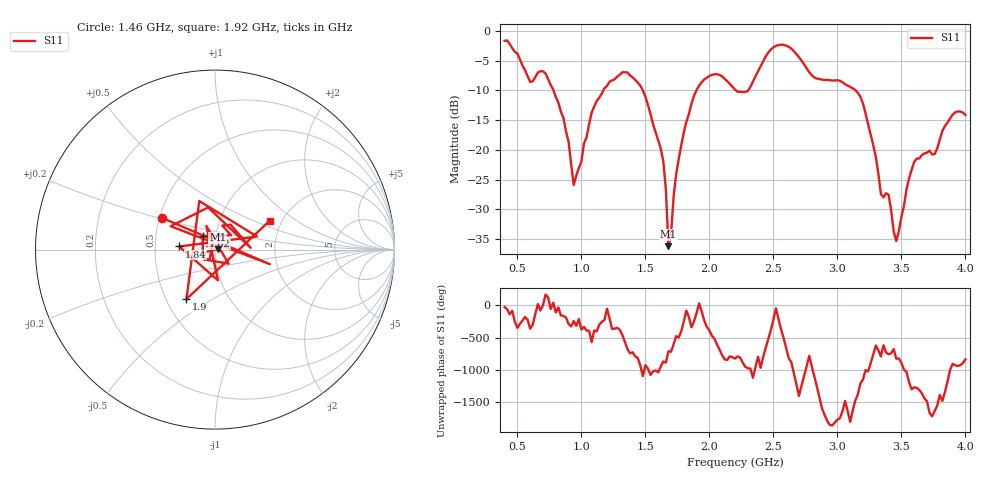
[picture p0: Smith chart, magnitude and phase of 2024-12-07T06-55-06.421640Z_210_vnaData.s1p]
!Created with skrf (http://scikit-rf.org).
# Hz S RI R 50.0
!freq ReS11 ImS11
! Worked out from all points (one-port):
!   181 points, 400 MHz to 4 GHz, reference 50 ohm
!   lowest |S11| = -36.2 dB at 1.68 GHz (marker M1), VSWR 1.03, Z = 51.6 + j0.202 ohm
!   |S11| at or under -10 dB: 781.8 MHz to 1.172 GHz (390.4 MHz wide, 40 % of centre); 1.48 GHz to 1.899 GHz (418.8 MHz wide, 24.8 % of centre); 3.141 GHz to end of sweep (the widest 3 of 4)
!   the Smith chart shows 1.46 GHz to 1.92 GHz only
!   S11 on the Smith chart (normalised r, x): 1.46 GHz: 0.51, +0.21; 1.62 GHz: 0.86, +0.13; 1.84 GHz: 0.67, +0.02; 1.9 GHz: 0.63, -0.39; 1.92 GHz: 1.73, +0.64
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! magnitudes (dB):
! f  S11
! 400 MHz  -1.7
! 600 MHz  -8.6
! 720 MHz  -7.2
! 860 MHz  -14.7
! 940 MHz  -25.9
! 1.08 GHz  -13.8
! 1.3 GHz  -7.4
! 1.46 GHz  -9.2
! 1.62 GHz  -19.8
! 1.66 GHz  -26.7
! 1.68 GHz  -36.2
! 1.76 GHz  -21.6
! 1.84 GHz  -14.0
! 1.9 GHz  -9.9
! 1.92 GHz  -9.2
! 2.06 GHz  -7.3
! 2.2 GHz  -9.9
! 2.3 GHz  -10.1
! 2.5 GHz  -2.8
! 2.66 GHz  -3.4
! 3.1 GHz  -9.4
! 3.2 GHz  -12.2
! 3.34 GHz  -27.4
! 3.4 GHz  -27.5
! 3.46 GHz  -35.3
! 3.56 GHz  -24.8
! 3.9 GHz  -14.1
! 4 GHz  -14.1
